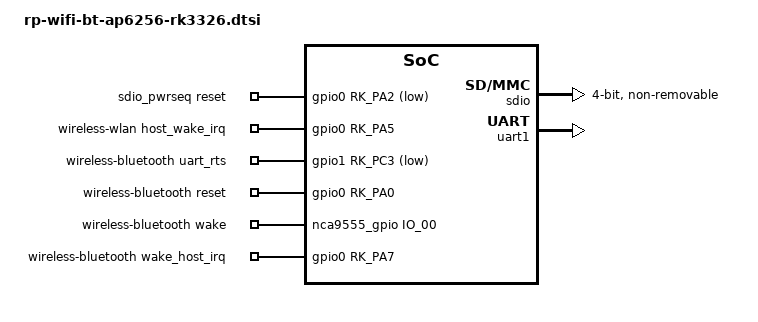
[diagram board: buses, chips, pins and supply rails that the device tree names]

/{
	sdio_pwrseq: sdio-pwrseq {
		compatible = "mmc-pwrseq-simple";
		clocks = <&hym8563>;
                clock-names = "ext_clock";
		pinctrl-names = "default";
		pinctrl-0 = <&wifi_enable_h>;

		/*
		 * On the module itself this is one of these (depending
		 * on the actual card populated):
		 * - SDIO_RESET_L_WL_REG_ON
		 * - PDN (power down when low)
		 */
		post-power-on-delay-ms = <100>;
		reset-gpios = <&gpio0 RK_PA2 GPIO_ACTIVE_LOW>;
	};
	
	wireless-wlan {
		compatible = "wlan-platdata";
		wifi_chip_type = "AP6256";
		WIFI,host_wake_irq = <&gpio0 RK_PA5 GPIO_ACTIVE_HIGH>;
	//	WIFI,poweren_gpio = <&gpio0 RK_PA2 GPIO_ACTIVE_HIGH>;
		status = "okay";
	};

	wireless-bluetooth {
		compatible = "bluetooth-platdata";
		clocks = <&hym8563>;
		clock-names = "ext_clock";
		uart_rts_gpios = <&gpio1 RK_PC3 GPIO_ACTIVE_LOW>;
		pinctrl-names = "default","rts_gpio";
		pinctrl-0 = <&uart1_rts>;
	//	pinctrl-1 = <&uart1_rts_gpio>;
		pinctrl-1 = <&uart1_gpios>;
		BT,reset_gpio = <&gpio0 RK_PA0 GPIO_ACTIVE_HIGH>;
		BT,wake_gpio = <&nca9555_gpio IO_00 GPIO_ACTIVE_HIGH>;
		BT,wake_host_irq = <&gpio0 RK_PA7 GPIO_ACTIVE_HIGH>;
		status = "okay";
	};
	
};


&sdio {
	supports-sdio;
	bus-width = <4>;
	cap-sd-highspeed;
	no-sd;
	no-mmc;
	ignore-pm-notify;
	keep-power-in-suspend;
	non-removable;
	mmc-pwrseq = <&sdio_pwrseq>;
	sd-uhs-sdr104;
	status = "okay";
};

&uart1 {
        pinctrl-names = "default";
        pinctrl-0 = <&uart1_xfer &uart1_cts>;
        status = "okay";
};

&pinctrl {
	sdio-pwrseq {
                wifi_enable_h: wifi-enable-h {
                        rockchip,pins = <0 RK_PA2 RK_FUNC_GPIO &pcfg_pull_none>;
                };
        };

        wireless-wlan {
                wifi_host_wake_irq: wifi-host-wake-irq {
                        rockchip,pins = <0 RK_PA5 RK_FUNC_GPIO &pcfg_pull_down>;
                };
        };

	wireless-bluetooth {
                uart1_gpios: uart1-gpios {
                        rockchip,pins = <1 RK_PC3 RK_FUNC_GPIO &pcfg_pull_none>;
                };
        };
};
